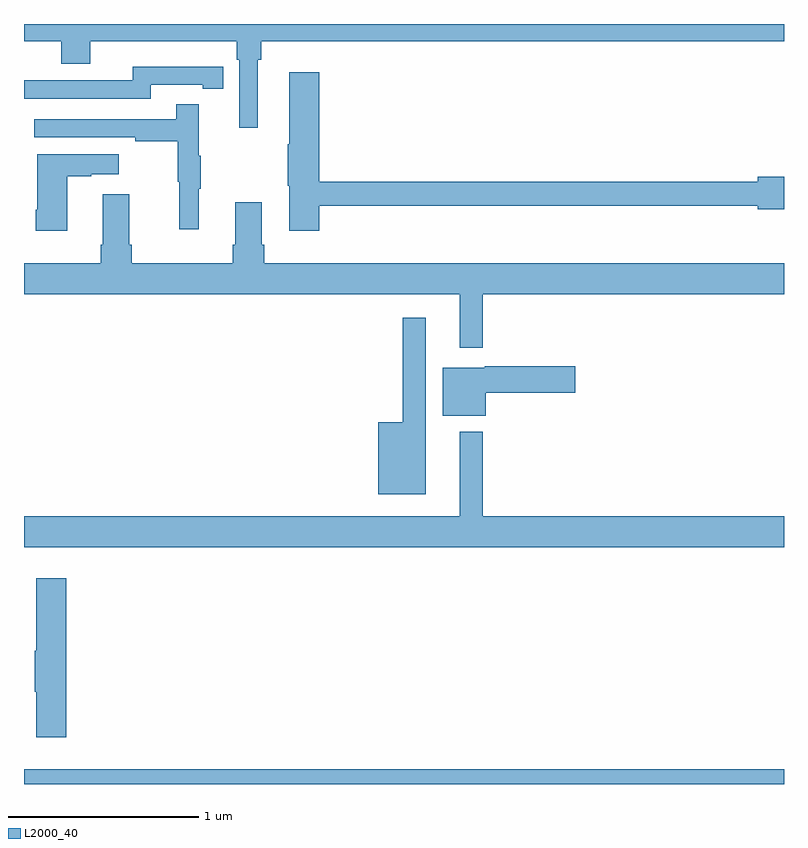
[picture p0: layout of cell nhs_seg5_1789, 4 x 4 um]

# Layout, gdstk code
import gdstk
lib = gdstk.Library(unit=1e-6, precision=1e-09)
def R(c, l, rs):  # rectangles x0, y0, x1, y1
    for r in rs: c.add(gdstk.rectangle(r[:2], r[2:], *l))
def P(c, l, *ps):  # polygons
    for p in ps: c.add(gdstk.Polygon(p, *l))
L2000_40 = (2000, 40)

nhs_seg5_1789 = lib.new_cell('nhs_seg5_1789')
R(nhs_seg5_1789, L2000_40, [(217,904.799,221,904.876)])
P(nhs_seg5_1789, L2000_40, [(218.23,908.612),(218.249,908.612),(218.249,908.708),(221,908.708),(221,908.799),(217,908.799),(217,908.708),(217.196,908.708),(217.196,908.591),(217.348,908.591),(217.348,908.708),(218.12,908.708),(218.12,908.612),(218.133,908.612),(218.133,908.253),(218.23,908.253)],
  [(217.668,908.478),(217.94,908.478),(217.94,908.458),(218.048,908.458),(218.048,908.574),(217.94,908.574),(217.94,908.575),(217.572,908.575),(217.572,908.502),(217.112,908.502),(217.112,908.504),(217,908.504),(217,908.406),(217.668,908.406)],
  [(218.555,907.842),(220.862,907.842),(220.862,907.823),(221,907.823),(221,907.994),(220.862,907.994),(220.862,907.97),(218.555,907.97),(218.555,908.545),(218.396,908.545),(218.396,908.165),(218.389,908.165),(218.389,907.947),(218.396,907.947),(218.396,907.71),(218.555,907.71)],
  [(217.919,907.931),(217.93,907.931),(217.93,908.105),(217.919,908.105),(217.919,908.377),(217.801,908.377),(217.801,908.298),(217.053,908.298),(217.053,908.202),(217.585,908.202),(217.585,908.182),(217.809,908.182),(217.809,907.968),(217.816,907.968),(217.816,907.719),(217.919,907.719)],
  [(217.228,907.999),(217.355,907.999),(217.355,908.009),(217.498,908.009),(217.498,908.113),(217.07,908.113),(217.07,907.822),(217.063,907.822),(217.063,907.71),(217.228,907.71)],
  [(219.415,907.376),(221,907.376),(221,907.54),(218.264,907.54),(218.264,907.636),(218.251,907.636),(218.251,907.861),(218.111,907.861),(218.111,907.636),(218.099,907.636),(218.099,907.54),(217.568,907.54),(217.568,907.636),(217.555,907.636),(217.555,907.903),(217.415,907.903),(217.415,907.636),(217.403,907.636),(217.403,907.54),(217,907.54),(217,907.376),(219.293,907.376),(219.293,907.095),(219.415,907.095)],
  [(219.115,907.252),(218.994,907.252),(218.994,906.703),(218.864,906.703),(218.864,906.323),(219.115,906.323)],
  [(219.43,906.857),(219.901,906.857),(219.901,906.999),(219.426,906.999),(219.426,906.991),(219.203,906.991),(219.203,906.737),(219.43,906.737)],
  [(221,906.208),(219.415,906.208),(219.415,906.652),(219.293,906.652),(219.293,906.208),(217,906.208),(217,906.044),(221,906.044)],
  [(217.223,905.881),(217.064,905.881),(217.064,905.501),(217.057,905.501),(217.057,905.284),(217.064,905.284),(217.064,905.046),(217.223,905.046)])

lib.write_gds('nhs_seg5_1789.gds')
